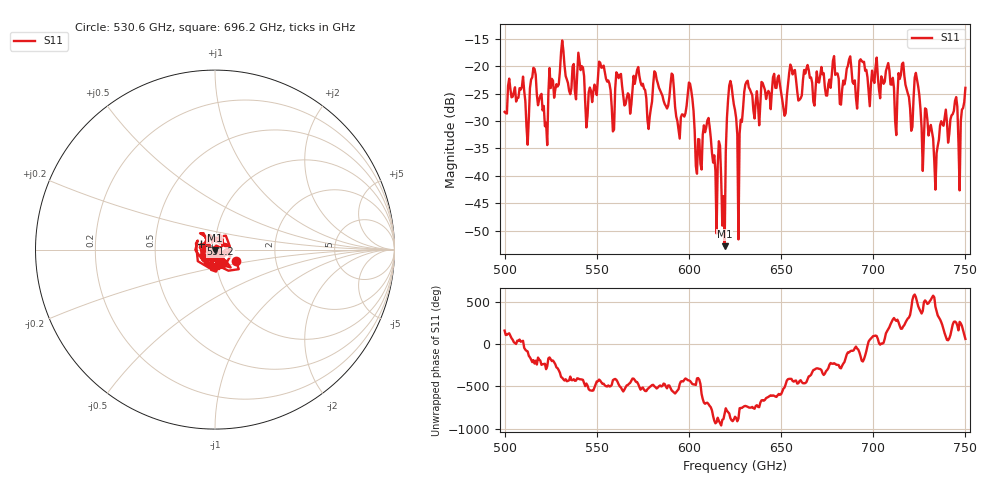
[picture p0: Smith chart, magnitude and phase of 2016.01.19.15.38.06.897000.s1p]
!Created with skrf (http://scikit-rf.org).
# GHz S RI R 50.0
!freq ReS11 ImS11
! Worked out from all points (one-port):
!   401 points, 500 GHz to 750 GHz, reference 50 ohm
!   lowest |S11| = -52.9 dB at 619.4 GHz (marker M1), VSWR 1.00, Z = 50 - j0.222 ohm
!   |S11| at or under -10 dB: start of sweep to end of sweep
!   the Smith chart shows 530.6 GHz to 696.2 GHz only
!   S11 on the Smith chart (normalised r, x): 530.6 GHz: 1.25, -0.17; 591.2 GHz: 0.85, +0.05; 696.2 GHz: 1.00, -0.19
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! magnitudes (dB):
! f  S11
! 500 GHz  -28.4
! 512.5 GHz  -34.3
! 515.6 GHz  -20.3
! 521.9 GHz  -31.0
! 530.6 GHz  -17.5
! 531.2 GHz  -15.3
! 545 GHz  -29.0
! 562.5 GHz  -21.6
! 578.8 GHz  -29.2
! 591.2 GHz  -21.6
! 593.8 GHz  -30.0
! 600.6 GHz  -23.2
! 605 GHz  -33.3
! 610.6 GHz  -29.5
! 619.4 GHz  -52.9
! 621.9 GHz  -23.5
! 625 GHz  -28.0
! 627.5 GHz  -32.3
! 631.2 GHz  -22.9
! 651.9 GHz  -29.1
! 656.2 GHz  -21.5
! 687.5 GHz  -18.2
! 696.2 GHz  -20.7
! 718.8 GHz  -25.0
! 723.8 GHz  -22.4
! 734.4 GHz  -35.9
! 747.5 GHz  -30.0
! 750 GHz  -24.0
